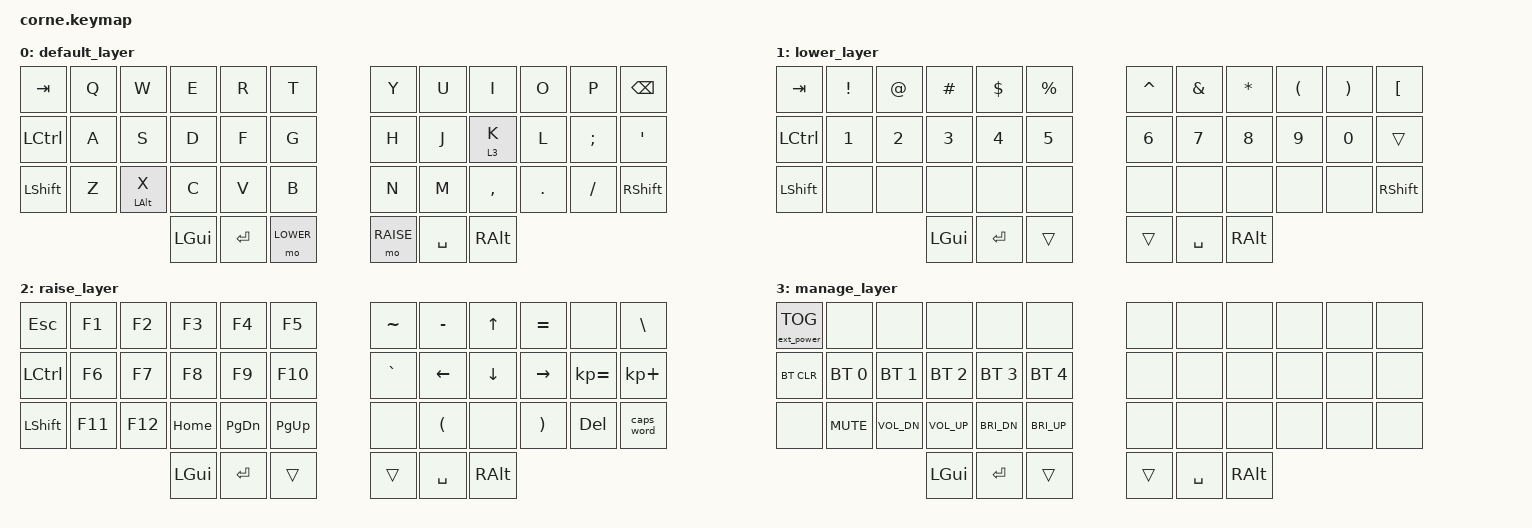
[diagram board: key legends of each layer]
/*
 * Copyright (c) 2020 The ZMK Contributors
 *
 * SPDX-License-Identifier: MIT
 */

#include <behaviors.dtsi>
#include <dt-bindings/zmk/keys.h>
#include <dt-bindings/zmk/bt.h>
#include <dt-bindings/zmk/ext_power.h>

#define DEFAULT 0
#define LOWER   1
#define RAISE   2
#define MANAGE  3


/ {
        keymap {
                compatible = "zmk,keymap";

                default_layer {
// QWERTY
// ,-----------------------------------------.                    ,-----------------------------------------.
// | Tab  |   Q  |   W  |   E  |   R  |   T  |                    |   Y  |   U  |   I  |   O  |   P  | BKSP |
// |------+------+------+------+------+------|                    |------+------+------+------+------+------|
// | LCTRL|   A  |   S  |   D  |   F  |   G  |                    |   H  |   J  |   K  |   L  |   ;  |  '   |
// |------+------+------+------+------+------|                    |------+------+------+------+------+------|
// |LShift|   Z  |   X  |   C  |   V  |   B  |                    |   N  |   M  |   ,  |   .  |   /  |RShift|
// `-----------------------------------------|                    |-----------------------------------------'
//                      | LGUI | ENTER| LOWER|                    | RAISE| SPACE| RALT |
//                      |      |      |      |                    |      |      |      |
//                      '--------------------'                    '--------------------'
//
// DVORAK (when using OS to convert keyboard)
// ,-----------------------------------------.                    ,-----------------------------------------.
// | Tab  |  '"  |  ,<  |  .>  |   P  |   Y  |                    |   F  |   G  |   C  |   R  |   L  | BKSP |
// |------+------+------+------+------+------|                    |------+------+------+------+------+------|
// | LCTRL|   A  |   O  |   E  |   U  |   I  |                    |   D  |   H  |   T  |   N  |   S  |  -_  |
// |------+------+------+------+------+------|                    |------+------+------+------+------+------|
// |LShift|  ;:  |   Q  |   J  |   K  |   X  |                    |   B  |   M  |   W  |   V  |   Z  |RShift|
// `-----------------------------------------|                    |-----------------------------------------'
//                      | LGUI | ENTER| LOWER|                    | RAISE| SPACE| RALT |
//                      |      |      |      |                    |      |      |      |
//                      '--------------------'                    '--------------------'
//
// with layer tap on K/T
// with mod tap on X/Q
//
                        bindings = <
   &kp TAB   &kp Q &kp W      &kp E &kp R &kp T   &kp Y &kp U  &kp I     &kp O   &kp P    &kp BSPC
   &kp LCTRL &kp A &kp S      &kp D &kp F &kp G   &kp H &kp J  &lt 3 K   &kp L   &kp SEMI &kp SQT
   &kp LSHFT &kp Z &mt LALT X &kp C &kp V &kp B   &kp N &kp M  &kp COMMA &kp DOT &kp FSLH &kp RSHFT
                     &kp LGUI &kp RET &mo LOWER   &mo RAISE &kp SPACE &kp RALT
                        >;
                };
                lower_layer {
// LOWER: NUMROW 
// ,-----------------------------------------.                    ,-----------------------------------------.
// | Tab  |   !  |   @  |   #  |   $  |   %  |                    |   ^  |   &  |   *  |   (  |   )  |  /?  |
// |------+------+------+------+------+------|                    |------+------+------+------+------+------|
// | LCTRL|   1  |   2  |   3  |   4  |   5  |                    |   6  |   7  |   8  |   9  |   0  |  -   |
// |------+------+------+------+------+------|                    |------+------+------+------+------+------|
// |LShift|      |      |      |      |      |                    |      |      |      |      |      |RShift|
// `-----------------------------------------|                    |-----------------------------------------'
//                      | LGUI | ENTER| LOWER|                    | RAISE| SPACE| RALT |
//                      |      |      |      |                    |      |      |      |
//                      '--------------------'                    '--------------------'
//
                        bindings = <
   &kp TAB   &kp EXCL &kp AT &kp HASH &kp DLLR &kp PRCNT   &kp CARET &kp AMPS &kp STAR &kp LPAR &kp RPAR &kp LBKT
   &kp LCTRL &kp N1   &kp N2 &kp N3   &kp N4   &kp N5      &kp N6    &kp N7   &kp N8   &kp N9   &kp N0   &trans
   &kp LSHFT &none    &none  &none    &none    &none       &none     &none    &none    &none    &none    &kp RSHFT
                              &kp LGUI &kp RET &trans      &trans &kp SPACE &kp RALT
                        >;
                };

                raise_layer {
// RAISE: NAVIGATION 
// ,-----------------------------------------.                    ,-----------------------------------------.
// | ESC  |  F1  |  F2  |  F3  |  F4  |  F5  |                    |   ~  |  [{  |  Up  |  ]}  |      |  \|  |
// |------+------+------+------+------+------|                    |------+------+------+------+------+------|
// | LCTRL|  F6  |  F7  |  F8  |  F9  |  F10 |                    |   `  | Left | Down | Right|   =  |   +  |
// |------+------+------+------+------+------|                    |------+------+------+------+------+------|
// |LShift|  F11 |  F12 | Home |PgDown| PgUp |                    |      |   (  |      |   )  |  DEL |CapsWd|
// `-----------------------------------------|                    |-----------------------------------------'
//                      | LGUI | ENTER| LOWER|                    | RAISE| SPACE| RALT |
//                      |      |      |      |                    |      |      |      |
//                      '--------------------'                    '--------------------'
//
                        bindings = <
   &kp ESC   &kp F1  &kp F2  &kp F3   &kp F4    &kp F5      &kp TILDE &kp MINUS &kp UP   &kp EQUAL &none        &kp BSLH
   &kp LCTRL &kp F6  &kp F7  &kp F8   &kp F9    &kp F10     &kp GRAVE &kp LEFT  &kp DOWN &kp RIGHT &kp KP_EQUAL &kp KP_PLUS
   &kp LSHFT &kp F11 &kp F12 &kp HOME &kp PG_DN &kp PG_UP   &none     &kp LPAR  &none    &kp RPAR  &kp DEL      &caps_word
                               &kp LGUI &kp RET &trans      &trans &kp SPACE &kp RALT
                        >;
                };

                manage_layer {

// T: MANAGEMENT
// ,-----------------------------------------.                    ,-----------------------------------------.
// |ExPwrT|      |      |      |      |      |                    |      |      |      |      |      |      |
// |------+------+------+------+------+------|                    |------+------+------+------+------+------|
// | BTCLR|  BT0 |  BT1 |  BT2 |  BT3 |  BT4 |                    |      |      |      |      |      |      |
// |------+------+------+------+------+------|                    |------+------+------+------+------+------|
// |      | Mute |VolDwn| VolUp|BriDwn| BriUp|                    |      |      |      |      |      |      |
// `-----------------------------------------|                    |-----------------------------------------'
//                      |      |      |      |                    |      |      |      |
//                      |      |      |      |                    |      |      |      |
//                      '--------------------'                    '--------------------'
//
                        bindings = <
   &ext_power EP_TOG &none        &none        &none        &none        &none          &none &none &none &none &none &none
   &bt BT_CLR        &bt BT_SEL 0 &bt BT_SEL 1 &bt BT_SEL 2 &bt BT_SEL 3 &bt BT_SEL 4   &none &none &none &none &none &none
   &none             &kp K_MUTE   &kp C_VOL_DN &kp C_VOL_UP &kp C_BRI_DN &kp C_BRI_UP   &none &none &none &none &none &none
                                                              &kp LGUI &kp RET &trans   &trans &kp SPACE &kp RALT
                        >;
                };
  
        };
};
